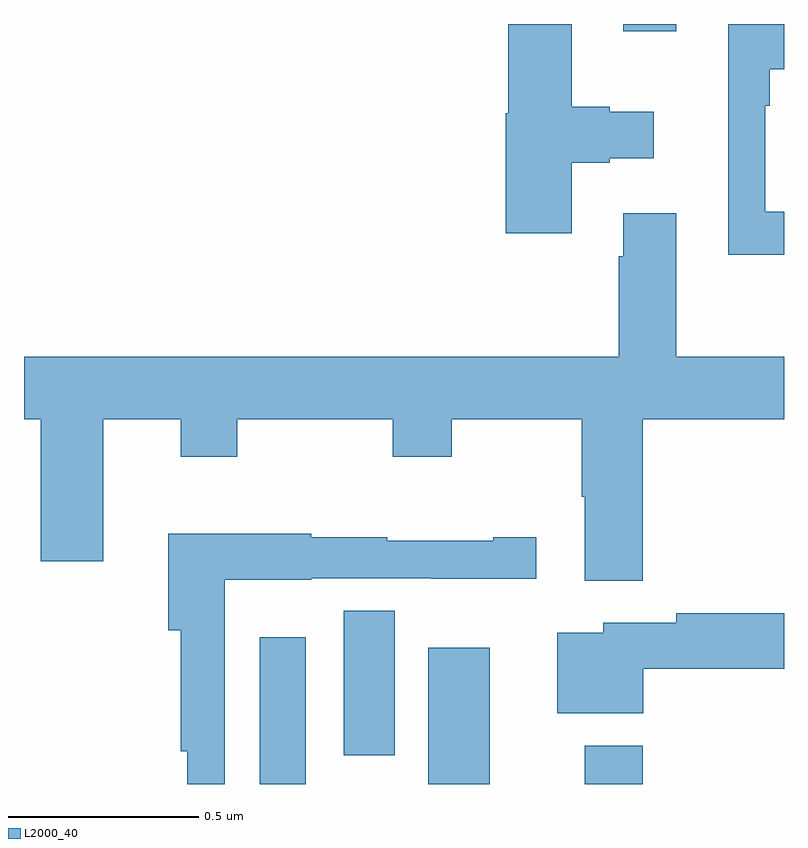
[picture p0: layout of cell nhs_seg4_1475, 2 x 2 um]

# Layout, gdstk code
import gdstk
lib = gdstk.Library(unit=1e-6, precision=1e-09)
def R(c, l, rs):  # rectangles x0, y0, x1, y1
    for r in rs: c.add(gdstk.rectangle(r[:2], r[2:], *l))
def P(c, l, *ps):  # polygons
    for p in ps: c.add(gdstk.Polygon(p, *l))
L2000_40 = (2000, 40)

nhs_seg4_1475 = lib.new_cell('nhs_seg4_1475')
R(nhs_seg4_1475, L2000_40, [(129.62,755.9,129.742,756.286), (130.064,755.9,130.225,756.259), (130.475,755.9,130.628,756.001), (129.842,755.976,129.976,756.356), (130.577,757.881,130.717,757.9)])
P(nhs_seg4_1475, L2000_40, [(131,757.406),(130.95,757.406),(130.95,757.685),(130.963,757.685),(130.963,757.781),(131,757.781),(131,757.9),(130.853,757.9),(130.853,757.293),(131,757.293)],
  [(130.441,757.535),(130.541,757.535),(130.541,757.547),(130.657,757.547),(130.657,757.669),(130.541,757.669),(130.541,757.682),(130.441,757.682),(130.441,757.9),(130.274,757.9),(130.274,757.665),(130.268,757.665),(130.268,757.35),(130.441,757.35)],
  [(130.628,756.86),(131,756.86),(131,757.024),(130.717,757.024),(130.717,757.402),(130.577,757.402),(130.577,757.289),(130.565,757.289),(130.565,757.024),(129,757.024),(129,756.86),(129.044,756.86),(129.044,756.486),(129.208,756.486),(129.208,756.86),(129.413,756.86),(129.413,756.761),(129.561,756.761),(129.561,756.86),(129.97,756.86),(129.97,756.761),(130.125,756.761),(130.125,756.86),(130.468,756.86),(130.468,756.656),(130.475,756.656),(130.475,756.435),(130.628,756.435)],
  [(129.528,756.437),(129.756,756.437),(129.756,756.441),(130.072,756.441),(130.072,756.44),(130.348,756.44),(130.348,756.55),(130.235,756.55),(130.235,756.54),(129.956,756.54),(129.956,756.55),(129.756,756.55),(129.756,756.559),(129.38,756.559),(129.38,756.305),(129.412,756.305),(129.412,755.986),(129.43,755.986),(129.43,755.9),(129.528,755.9)],
  [(130.63,756.203),(131,756.203),(131,756.35),(130.716,756.35),(130.716,756.325),(130.524,756.325),(130.524,756.298),(130.403,756.298),(130.403,756.086),(130.63,756.086)])

lib.write_gds('nhs_seg4_1475.gds')
